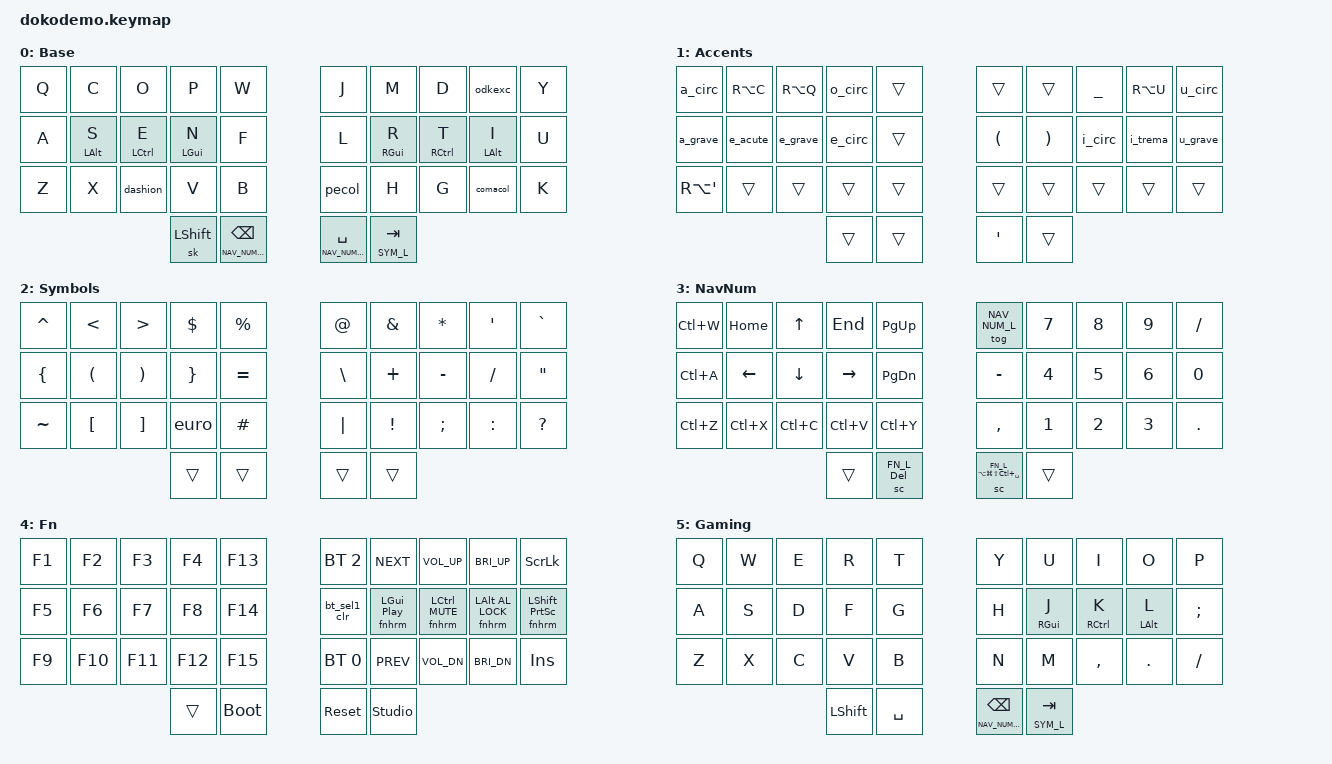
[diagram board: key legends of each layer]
// Copyright (c) 2022 The ZMK Contributors
// SPDX-License-Identifier: MIT

#include <behaviors.dtsi>
#include <dt-bindings/zmk/bt.h>
#include <dt-bindings/zmk/keys.h>

#define BASE_L 0
#define ODK_L 1
#define SYM_L 2
#define NAV_NUM_L 3
#define FN_L 4
#define GAMING_L 5

#include "includes/behaviors.dtsi"
#include "includes/macros.dtsi"

/ {
    keymap {
        compatible = "zmk,keymap";

        base_layer {
            display-name = "Base";
            bindings = <
        //╭──────────┬──────────┬──────────┬──────────┬──────────╮   ╭──────────┬──────────┬──────────┬──────────┬──────────╮
            &kp Q      &kp C      &kp O      &kp P      &kp W          &kp J      &kp M      &kp D      &odkexc    &kp Y
        //├──────────┼──────────┼──────────┼──────────┼──────────┤   ├──────────┼──────────┼──────────┼──────────┼──────────┤
            &kp A      &hml LALT S &hml LCTRL E &hml LGUI N &kp F     &kp L      &hmr RGUI R &hmr RCTRL T &hmr LALT I &kp U
        //├──────────┼──────────┼──────────┼──────────┼──────────┤   ├──────────┼──────────┼──────────┼──────────┼──────────┤
            &kp Z      &kp X      &dashion   &kp V      &kp B          &pecol     &kp H      &kp G      &comacol   &kp K
        //╰──────────┴──────────┴──────────┼──────────┼──────────┤   ├──────────┼──────────┼──────────┴──────────┴──────────╯
                                         &sk LSHFT  &lt NAV_NUM_L BSPC    &lt NAV_NUM_L SPACE  &lt SYM_L TAB
        //                                 ╰──────────┴──────────╯   ╰──────────┴──────────╯
            >;
        };

        one_dead_key_layer {
            display-name = "Accents";
            bindings = <
            &a_circ     &kp RA(C)   &kp RA(Q)   &o_circ    &trans       &trans    &trans    &kp UNDER  &kp RA(U)  &u_circ
            &a_grave    &e_acute    &e_grave    &e_circ    &trans       &kp LPAR  &kp RPAR  &i_circ    &i_trema   &u_grave
            &kp RA(SQT) &trans      &trans      &trans     &trans       &trans    &trans    &trans     &trans     &trans
                                                   &trans     &trans       &kp APOS  &trans
            >;
        };

        symbols_layer {
            display-name = "Symbols";
            bindings = <
            &kp CARET  &kp LT     &kp GT     &kp DLLR   &kp PRCNT      &kp AT      &kp AMPS   &kp STAR   &kp SQT    &kp GRAVE
            &kp LBRC   &kp LPAR   &kp RPAR   &kp RBRC   &kp EQUAL      &kp BSLH    &kp PLUS   &kp MINUS  &kp FSLH   &kp DQT
            &kp TILDE  &kp LBKT   &kp RBKT   &euro      &kp HASH       &kp PIPE    &kp EXCL   &kp SEMI   &kp COLON  &kp QMARK
                                             &trans     &trans             &trans       &trans
            >;
        };

        nav_num_layer {
            display-name = "NavNum";
            bindings = <
            &kp LC(W)  &kp HOME   &kp UP     &kp END    &kp PG_UP      &tog NAV_NUM_L  &kp N7     &kp N8     &kp N9     &kp FSLH
            &kp LC(A)  &kp LEFT   &kp DOWN   &kp RIGHT  &kp PG_DN      &kp MINUS        &kp N4     &kp N5     &kp N6     &kp N0
            &kp LC(Z)  &kp LC(X)  &kp LC(C)  &kp LC(V)  &kp LC(Y)      &kp COMMA        &kp N1     &kp N2     &kp N3     &kp DOT
                                             &trans     &sc FN_L DEL       &sc FN_L LA(LG(LS(LC(SPACE))))  &trans
            >;
        };

        fn_layer {
            display-name = "Fn";
            bindings = <
            &kp F1     &kp F2     &kp F3     &kp F4     &kp F13        &bt BT_SEL 2  &kp C_NEXT   &kp C_VOL_UP  &kp C_BRI_UP  &kp SLCK
            &kp F5     &kp F6     &kp F7     &kp F8     &kp F14        &bt_sel1_clr  &fnhrm LGUI C_PP  &fnhrm LCTRL C_MUTE  &fnhrm LALT C_AL_LOCK  &fnhrm LSHIFT PSCRN
            &kp F9     &kp F10    &kp F11    &kp F12    &kp F15        &bt BT_SEL 0  &kp C_PREV   &kp C_VOL_DN  &kp C_BRI_DN  &kp INS
                                             &trans     &bootloader        &sys_reset     &studio_unlock
            >;
        };

        // QWERTY gaming layer: no hold-taps on the left hand, where movement
        // keys and the dedicated Shift/Space thumbs need immediate presses.
        // Right-hand home-row mods keep every modifier available.
        gaming_layer {
            display-name = "Gaming";
            bindings = <
            &kp Q      &kp W      &kp E      &kp R      &kp T          &kp Y      &kp U      &kp I      &kp O      &kp P
            &kp A      &kp S      &kp D      &kp F      &kp G          &kp H      &hmr RGUI J &hmr RCTRL K &hmr LALT L &kp SEMI
            &kp Z      &kp X      &kp C      &kp V      &kp B          &kp N      &kp M      &kp COMMA  &kp DOT    &kp FSLH
                                         &kp LSHFT  &kp SPACE            &lt NAV_NUM_L BSPC  &lt SYM_L TAB
            >;
        };
    };

    combos {
        compatible = "zmk,combos";

        //     0  1  2  3  4     5  6  7  8  9
        //     10 11 12 13 14    15 16 17 18 19
        //     20 21 22 23 24    25 26 27 28 29
        //              30 31    32 33
        combo_caps_word {
            timeout-ms = <40>;
            key-positions = <20 29>;
            bindings = <&caps_word>;
            require-prior-idle-ms = <200>;
        };

        combo_escape {
            timeout-ms = <90>;
            key-positions = <22 21>;
            bindings = <&kp ESC>;
            require-prior-idle-ms = <50>;
        };

        combo_enter {
            timeout-ms = <120>;
            key-positions = <27 28>;
            bindings = <&kp ENTER>;
            require-prior-idle-ms = <50>;
        };

        combo_gaming_on {
            timeout-ms = <60>;
            key-positions = <28 29>;
            bindings = <&tog GAMING_L>;
            layers = <BASE_L>;
            require-prior-idle-ms = <100>;
        };

        combo_gaming_off {
            timeout-ms = <60>;
            key-positions = <28 29>;
            bindings = <&tog GAMING_L>;
            layers = <GAMING_L>;
            require-prior-idle-ms = <100>;
        };
    };
};
